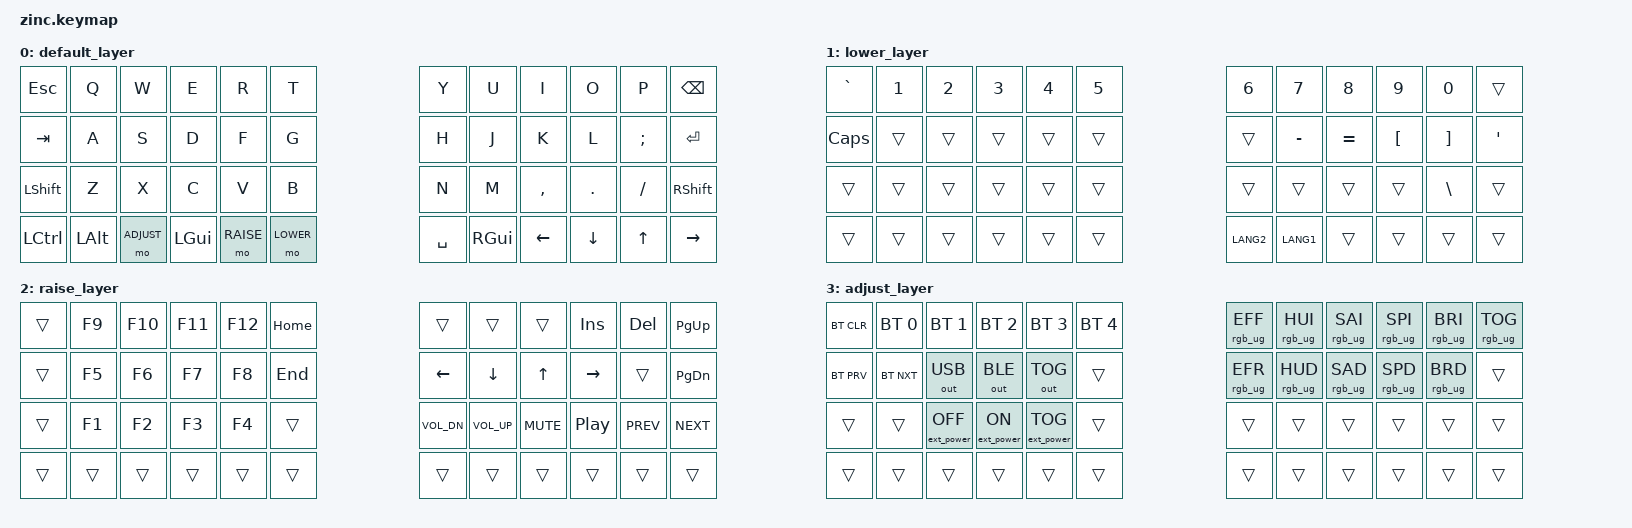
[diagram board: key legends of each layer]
/*
 * Copyright (c) 2020 The ZMK Contributors
 *
 * SPDX-License-Identifier: MIT
 */

 #include <behaviors.dtsi>
 #include <dt-bindings/zmk/keys.h>
 #include <dt-bindings/zmk/bt.h>
 #include <dt-bindings/zmk/rgb.h>
 #include <dt-bindings/zmk/ext_power.h>
 #include <dt-bindings/zmk/outputs.h>

 #define DEFAULT 0
 #define LOWER  1
 #define RAISE  2
 #define ADJUST 3

/* NOTE: At the time of the creation of this keymap, there are no specified codes for 'eisuu' and 'kana' input in ZMK.
However, 'LANG1' and 'LANG2' are fully-functioning candidates for 'kana' and 'eisuu' input respectively.
As such, those are in use within the default layer at this time.*/

/ {
       keymap {
              compatible = "zmk,keymap";
 
              default_layer {
 // ---------------------------------------------------------------------------------------------------------------------------------
 // |  ESC   |   Q    |   W    |   E    |   R    |   T    |                      |   Y    |   U    |   I    |   O    |   P    |  BSPC  |
 // |  TAB   |   A    |   S    |   D    |   F    |   G    |                      |   H    |   J    |   K    |   L    |   ;    |  RET   |
 // |  SHIFT |   Z    |   X    |   C    |   V    |   B    |                      |   N    |   M    |   ,    |   .    |   /    |  RSHFT |
 // |  LCTRL |  LALT  | ADJUST |  LGUI  | RAISE  | LOWER  |                      | SPACE  |  RGUI  |  LEFT  |  DOWN  |  UP    |  RIGHT |
                     bindings = <
       &kp ESC    &kp Q    &kp W      &kp E    &kp R     &kp T                       &kp Y     &kp U     &kp I     &kp O      &kp P     &kp BSPC
       &kp TAB    &kp A    &kp S      &kp D    &kp F     &kp G                       &kp H     &kp J     &kp K     &kp L      &kp SEMI  &kp RET
       &kp LSHFT  &kp Z    &kp X      &kp C    &kp V     &kp B                       &kp N     &kp M     &kp COMMA &kp PERIOD &kp SLASH &kp RSHFT
       &kp LCTRL  &kp LALT &mo ADJUST &kp LGUI &mo RAISE &mo LOWER                   &kp SPACE &kp RGUI  &kp LEFT  &kp DOWN   &kp UP    &kp RIGHT
                     >;
              };
              lower_layer {
 // ---------------------------------------------------------------------------------------------------------------------------------
 // |  ~   |  !   |  @   |  #   |  $   |  %   |                 |  ^   |  &   |  *   |  (   |  )   |      |
 // | CLCK |      |      |      |      |      |                 |      |  -   |  =   |  [   |  ]   | SQT  |
 // |      |      |      |      |      |      |                 |      |      |      |      |  \   |      |
 // |      |      |      |      |      |      |                 |HANJA |HANGUL|      |      |      |      |
                     bindings = <
       &kp GRAVE &kp N1   &kp N2 &kp N3   &kp N4   &kp N5              &kp N6    &kp N7    &kp N8    &kp N9   &kp N0   &trans
       &kp CLCK  &trans   &trans &trans   &trans   &trans              &trans    &kp MINUS &kp EQUAL &kp LBKT &kp RBKT &kp SQT
       &trans    &trans   &trans &trans   &trans   &trans              &trans    &trans    &trans    &trans   &kp BSLH &trans
       &trans    &trans   &trans &trans   &trans   &trans              &kp LANG2 &kp LANG1 &trans    &trans   &trans   &trans
                     >;
              };
              raise_layer {
 // ---------------------------------------------------------------------------------------------------------------------------------
 // |       |  F9   |  F10  |  F11  |  F12  |  HOME |                     |       |       |       |  INS  |  DEL  | PG_UP |
 // |       |  F5   |  F6   |  F7   |  F8   |  END  |                     | LEFT  |  DOWN |  UP   | RIGHT |       | PG_DN |
 // |       |  F1   |  F2   |  F3   |  F4   |       |                     |  VOL- |  VOL+ |  MUTE |   PP  | PREV  | NEXT  |
 // |       |       |       |       |       |       |                     |       |       |  NEXT | VOL-  | VOL+  | PLAY  |
                     bindings = <
       &trans    &kp F9 &kp F10 &kp F11 &kp F12 &kp HOME                  &trans       &trans       &trans     &kp INS     &kp DEL      &kp PG_UP
       &trans    &kp F5 &kp F6  &kp F7  &kp F8  &kp END                   &kp LEFT     &kp DOWN     &kp UP     &kp RIGHT   &trans       &kp PG_DN
       &trans    &kp F1 &kp F2  &kp F3  &kp F4  &trans                    &kp C_VOL_DN &kp C_VOL_UP &kp C_MUTE &kp C_PP    &kp C_PREV   &kp C_NEXT
       &trans    &trans &trans  &trans  &trans  &trans                    &trans       &trans       &trans     &trans      &trans       &trans
                     >;
              };
              adjust_layer {
 // ---------------------------------------------------------------------------------------------------------------------------------
 // |  BT CLR  | BT SEL0  | BT SEL1  | BT SEL2  | BGT SEL3 | BT SEL4  |             | RGB EFF+ | RGB HUE+ | RGB SAT+ | RGB SPD+ | RGB BRI+ | RGB TOG  |
 // |  BT NXT  | OUT TOG  | OUT USB  | OUT BLE  |          |          |             | RGB EFF- | RGB HUE- | RGB SAT- | RGB SPD- | RGB BRI- |          |
 // |  BT PRV  |          |          |          |          |          |             |          |          |          |          |          |          |
 // |          |          |          |          |          |          |             |          |          |          |          |          |          |
                     bindings = <
       &bt BT_CLR &bt BT_SEL 0 &bt BT_SEL 1       &bt BT_SEL 2      &bt BT_SEL 3       &bt BT_SEL 4          &rgb_ug RGB_EFF &rgb_ug RGB_HUI &rgb_ug RGB_SAI &rgb_ug RGB_SPI &rgb_ug RGB_BRI &rgb_ug RGB_TOG 
       &bt BT_PRV &bt BT_NXT   &out OUT_USB       &out OUT_BLE      &out OUT_TOG       &trans                &rgb_ug RGB_EFR &rgb_ug RGB_HUD &rgb_ug RGB_SAD &rgb_ug RGB_SPD &rgb_ug RGB_BRD &trans
       &trans     &trans       &ext_power EP_OFF  &ext_power EP_ON  &ext_power EP_TOG  &trans                &trans          &trans          &trans          &trans          &trans          &trans
       &trans     &trans       &trans             &trans            &trans             &trans                &trans          &trans          &trans          &trans          &trans          &trans
                     >;    
              };
       };
};
